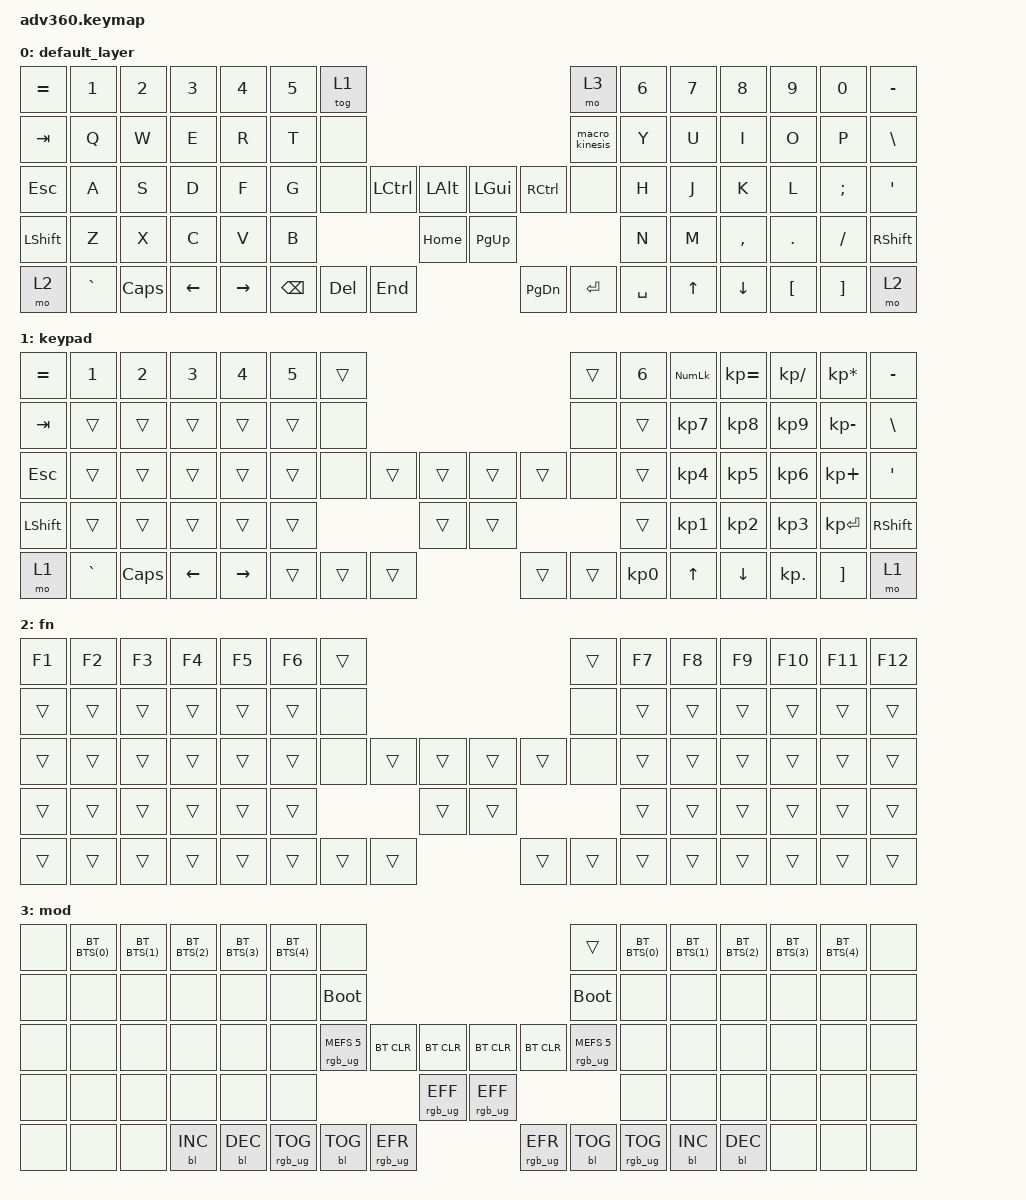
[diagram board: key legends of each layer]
#include <behaviors.dtsi>
#include <dt-bindings/zmk/keys.h>
#include <dt-bindings/zmk/bt.h>
#include <dt-bindings/zmk/rgb.h>
#include <dt-bindings/zmk/backlight.h>

#define BTS(n) BT_SEL n

/ {
    behaviors {
      #include "macros.dtsi"

      hm: homerow_mods {
          compatible = "zmk,behavior-hold-tap";
          label = "HOMEROW_MODS";
          #binding-cells = <2>;
          tapping-term-ms = <200>;
          quick_tap_ms = <175>;
          flavor = "tap-preferred";
          bindings = <&kp>, <&kp>;
      };
    };

  keymap {
    compatible = "zmk,keymap";

    default_layer {
      bindings = <
        &kp EQUAL &kp N1    &kp N2   &kp N3   &kp N4     &kp N5 &tog 1                                                            &mo 3 &kp N6 &kp N7 &kp N8    &kp N9   &kp N0   &kp MINUS
        &kp TAB   &kp Q     &kp W    &kp E    &kp R      &kp T  &none                                                    &macro_kinesis &kp Y  &kp U  &kp I     &kp O    &kp P    &kp BSLH
        &kp ESC   &kp A     &kp S    &kp D    &kp F      &kp G  &none           &kp LCTRL &kp LALT  &kp LGUI  &kp RCTRL           &none &kp H  &kp J  &kp K     &kp L    &kp SEMI &kp SQT
        &kp LSHFT &kp Z     &kp X    &kp C    &kp V      &kp B                            &kp HOME  &kp PG_UP                           &kp N  &kp M  &kp COMMA &kp DOT  &kp FSLH &kp RSHFT
        &mo 2     &kp GRAVE &kp CAPS &kp LEFT &kp RIGHT                  &kp BKSP &kp DEL &kp END   &kp PG_DN &kp ENTER &kp SPACE              &kp UP &kp DOWN  &kp LBKT &kp RBKT &mo 2
        >;
    };
    keypad {
      bindings = <
        &kp EQUAL &kp N1     &kp N2    &kp N3    &kp N4      &kp N5  &trans                                  &trans &kp N6 &kp KP_NUM &kp KP_EQUAL &kp KP_DIVIDE &kp KP_MULTIPLY &kp MINUS
        &kp TAB   &trans     &trans    &trans    &trans      &trans  &none                                    &none &trans &kp KP_N7  &kp KP_N8    &kp KP_N9     &kp KP_MINUS    &kp BSLH
        &kp ESC   &trans     &trans    &trans    &trans      &trans  &none      &trans &trans &trans &trans   &none &trans &kp KP_N4  &kp KP_N5    &kp KP_N6     &kp KP_PLUS     &kp SQT
        &kp LSHFT &trans     &trans    &trans    &trans      &trans                    &trans &trans                &trans &kp KP_N1  &kp KP_N2    &kp KP_N3     &kp KP_ENTER    &kp RSHFT
        &mo 1     &kp GRAVE &kp CAPS &kp LEFT &kp RIGHT                  &trans &trans &trans &trans &trans &kp KP_N0      &kp UP     &kp DOWN     &kp KP_DOT    &kp RBKT        &mo 1
      >;
    };
    fn {
      bindings = <
        &kp F1    &kp F2    &kp F3    &kp F4   &kp F5    &kp F6 &trans                                          &trans &kp F7  &kp F8  &kp F9  &kp F10  &kp F11  &kp F12
        &trans    &trans    &trans    &trans   &trans    &trans &none                                            &none &trans  &trans  &trans  &trans   &trans   &trans
        &trans    &trans    &trans    &trans   &trans    &trans &none           &trans &trans &trans  &trans     &none &trans  &trans  &trans  &trans   &trans   &trans
        &trans    &trans    &trans    &trans   &trans    &trans                        &trans &trans                   &trans  &trans  &trans  &trans   &trans   &trans
        &trans    &trans    &trans    &trans   &trans                    &trans &trans &trans &trans &trans &trans             &trans  &trans  &trans   &trans   &trans
      >;
    };
    mod {
      bindings = <
&none &bt BTS(0) &bt BTS(1) &bt BTS(2) &bt BTS(3) &bt BTS(4) &none                                                        &trans  &bt BTS(0) &bt BTS(1) &bt BTS(2) &bt BTS(3) &bt BTS(4) &none
&none &none      &none      &none      &none      &none      &bootloader                                              &bootloader &none      &none      &none      &none      &none      &none
&none &none      &none      &none      &none      &none      &rgb_ug RGB_MEFS_CMD 5      &bt BT_CLR &bt BT_CLR &bt BT_CLR &bt BT_CLR      &rgb_ug RGB_MEFS_CMD 5  &none      &none      &none      &none      &none      &none
&none &none      &none      &none      &none      &none                        &rgb_ug RGB_EFF &rgb_ug RGB_EFF                    &none      &none      &none      &none      &none      &none
&none &none      &none      &bl BL_INC &bl BL_DEC   &rgb_ug RGB_TOG &bl BL_TOG &rgb_ug RGB_EFR &rgb_ug RGB_EFR  &bl BL_TOG &rgb_ug RGB_TOG   &bl BL_INC &bl BL_DEC &none      &none      &none
      >;
    };
  };
};
